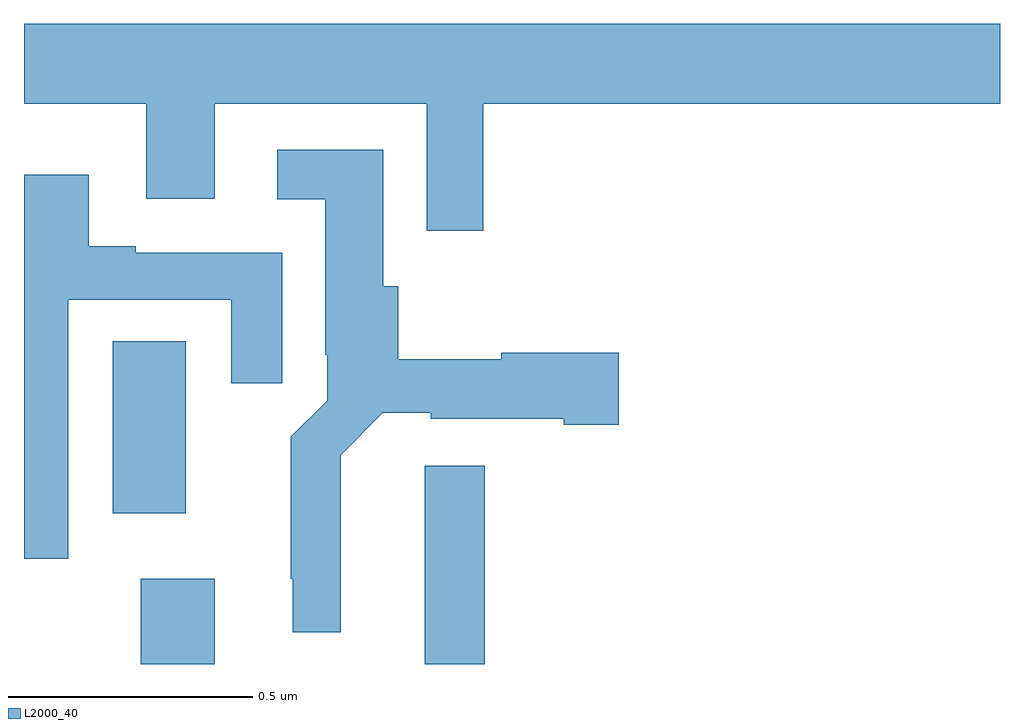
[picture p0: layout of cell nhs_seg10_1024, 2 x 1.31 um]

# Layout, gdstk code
import gdstk
lib = gdstk.Library(unit=1e-6, precision=1e-09)
def R(c, l, rs):  # rectangles x0, y0, x1, y1
    for r in rs: c.add(gdstk.rectangle(r[:2], r[2:], *l))
def P(c, l, *ps):  # polygons
    for p in ps: c.add(gdstk.Polygon(p, *l))
L2000_40 = (2000, 40)

nhs_seg10_1024 = lib.new_cell('nhs_seg10_1024')
R(nhs_seg10_1024, L2000_40, [(123.239,1300.5,123.391,1300.675), (123.821,1300.5,123.944,1300.906), (123.182,1300.809,123.331,1301.162)])
P(nhs_seg10_1024, L2000_40, [(123.941,1301.648),(125,1301.648),(125,1301.812),(123,1301.812),(123,1301.648),(123.251,1301.648),(123.251,1301.454),(123.391,1301.454),(123.391,1301.648),(123.825,1301.648),(123.825,1301.388),(123.941,1301.388)],
  [(123.649,1300.928),(123.735,1301.015),(123.834,1301.015),(123.834,1301.003),(124.106,1301.003),(124.106,1300.991),(124.219,1300.991),(124.219,1301.138),(123.978,1301.138),(123.978,1301.125),(123.767,1301.125),(123.767,1301.274),(123.736,1301.274),(123.736,1301.554),(123.519,1301.554),(123.519,1301.453),(123.617,1301.453),(123.617,1301.134),(123.621,1301.134),(123.621,1301.04),(123.547,1300.966),(123.547,1300.675),(123.551,1300.675),(123.551,1300.565),(123.649,1300.565)],
  [(123.091,1301.247),(123.425,1301.247),(123.425,1301.076),(123.529,1301.076),(123.529,1301.343),(123.229,1301.343),(123.229,1301.356),(123.133,1301.356),(123.133,1301.503),(123,1301.503),(123,1300.716),(123.091,1300.716)])

lib.write_gds('nhs_seg10_1024.gds')
